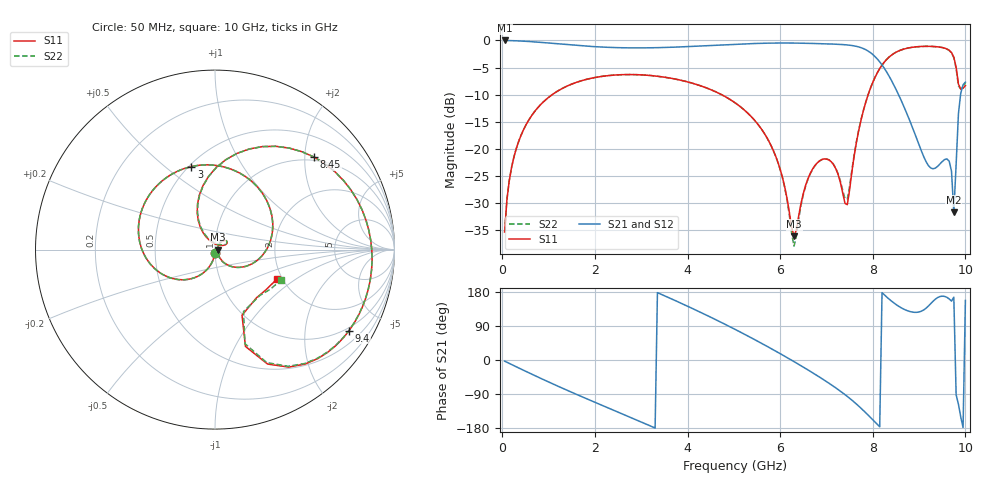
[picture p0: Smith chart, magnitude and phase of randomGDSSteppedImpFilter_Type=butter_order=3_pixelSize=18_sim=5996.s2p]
! freq	dB(S11)	phase(S11)	dB(S12)	phase(S12)
!  dB(S21)	phase(S21)	dB(S22)	phase(S22)
!S-par simulation data
#  GHz  S  DB  R 50
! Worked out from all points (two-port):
!   200 points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, 50 MHz to 10 GHz, reference 50 ohm
!   highest |S21| = -0.01 dB at 50 MHz (marker M1); lowest = -31.7 dB at 9.75 GHz (marker M2)
!   |S21| within 3 dB of the highest: start of sweep to 8.051 GHz
!   lowest |S11| = -36.2 dB at 6.3 GHz (marker M3), VSWR 1.03, Z = 51.6 - j0.116 ohm
!   |S11| at or under -10 dB: start of sweep to 1.079 GHz; 4.732 GHz to 7.901 GHz (3.169 GHz wide, 50.2 % of centre)
!   |S22| runs from -38.0 to -1.1 dB; largest |S21 - S12| = 0
!   S11 on the Smith chart (normalised r, x): 50 MHz: 1.00, -0.03; 3 GHz: 0.51, +0.62; 8.45 GHz: 0.92, +2.21; 9.4 GHz: 0.89, -3.38; 10 GHz: 1.88, -0.72
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0.05  -35.39 -92.8  -0.01 -3.0  -0.01 -3.0  -35.38 -92.8
0.2  -23.46 -102.2  -0.04 -11.9  -0.04 -11.9  -23.46 -102.1
0.5  -15.78 -120.0  -0.16 -29.5  -0.16 -29.5  -15.78 -120.0
1.75  -7.34 170.8  -1.02 -98.5  -1.02 -98.5  -7.34 171.0
3  -6.36 105.9  -1.38 -163.6  -1.38 -163.6  -6.36 106.2
3.4  -6.67 84.7  -1.33 175.1  -1.33 175.1  -6.67 85.1
4.15  -8.01 43.6  -1.08 133.4  -1.08 133.4  -8.01 44.0
5.05  -11.65 -8.4  -0.70 79.4  -0.70 79.4  -11.66 -8.2
5.9  -21.29 -55.6  -0.48 23.7  -0.48 23.7  -21.33 -56.7
6.3  -36.20 -4.2  -0.49 -4.3  -0.49 -4.3  -37.99 -3.8
6.7  -23.75 47.5  -0.56 -33.6  -0.56 -33.6  -23.81 50.8
7.1  -22.37 28.1  -0.66 -65.0  -0.66 -65.0  -22.33 31.1
7.45  -30.32 84.2  -0.83 -96.1  -0.83 -96.1  -29.28 84.2
7.95  -8.82 100.7  -2.26 -151.6  -2.26 -151.6  -8.80 100.4
8.35  -3.09 53.8  -6.56 160.9  -6.56 160.9  -3.09 53.8
8.45  -2.44 43.0  -8.15 151.1  -8.15 151.1  -2.44 43.1
8.9  -1.22 3.3  -17.03 125.8  -17.03 125.8  -1.22 3.4
9.4  -1.18 -31.1  -23.25 164.7  -23.25 164.7  -1.19 -31.0
9.65  -1.82 -51.8  -22.30 161.1  -22.30 161.1  -1.86 -51.8
9.75  -3.08 -65.3  -31.72 165.8  -31.72 165.8  -3.20 -65.4
9.85  -8.06 -67.6  -13.52 -116.9  -13.52 -116.9  -8.41 -65.3
10  -8.34 -25.2  -7.70 157.1  -7.70 157.1  -7.84 -24.8
